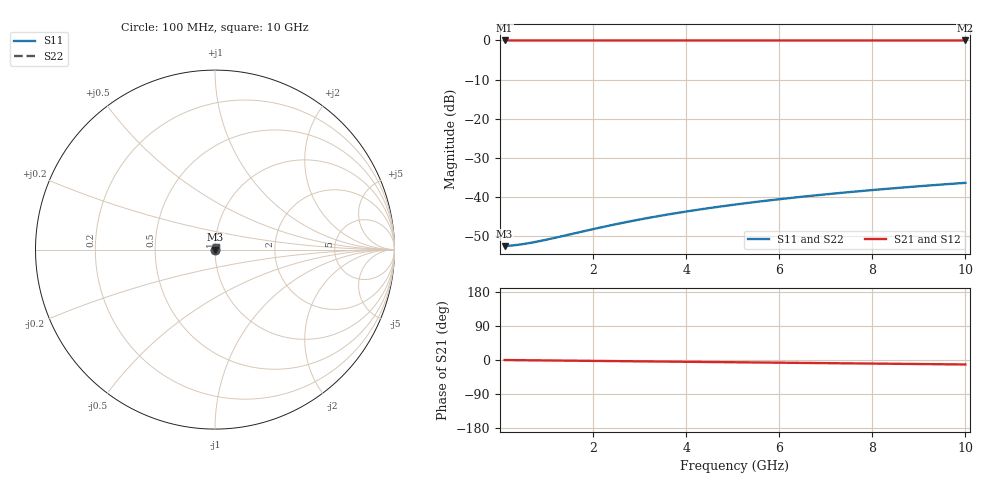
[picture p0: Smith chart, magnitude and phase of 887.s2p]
# Hz S RI R 50.00
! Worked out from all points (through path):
!   100 points, 100 MHz to 10 GHz, reference 50 ohm
!   highest |S21| = -0.02 dB at 100 MHz (marker M1); lowest = 0.0 dB at 10 GHz (marker M2)
!   group delay of S21, straight-line fit = 3.27 ps
!   lowest |S11| = -52.5 dB at 100 MHz (marker M3), VSWR 1.00, Z = 50.2 + j0.0147 ohm
!   |S11| at or under -10 dB: start of sweep to end of sweep
!   |S22| runs from -52.5 to -36.4 dB; largest |S21 - S12| = 0
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1e8  0.00236 0.000147  0.9976 -0.00205  0.9976 -0.00205  0.00236 0.000147
3e8  0.00239 0.00044  0.9976 -0.00615  0.9976 -0.00615  0.00239 0.00044
4e8  0.0024 0.000586  0.9976 -0.0082  0.9976 -0.0082  0.0024 0.000586
5e8  0.00241 0.000732  0.9975 -0.0102  0.9975 -0.0102  0.00241 0.000732
7e8  0.00243 0.00103  0.9975 -0.0143  0.9975 -0.0143  0.00243 0.00103
9e8  0.00244 0.00132  0.9974 -0.0184  0.9974 -0.0184  0.00244 0.00132
1.1e9  0.00247 0.00161  0.9973 -0.0225  0.9973 -0.0225  0.00247 0.00161
1.8e9  0.00255 0.00263  0.9968 -0.0369  0.9968 -0.0369  0.00255 0.00263
2.2e9  0.00261 0.00321  0.9965 -0.0451  0.9965 -0.0451  0.00261 0.00321
2.6e9  0.00268 0.0038  0.9961 -0.0533  0.9961 -0.0533  0.00268 0.0038
3e9  0.00275 0.00438  0.9956 -0.0615  0.9956 -0.0615  0.00275 0.00438
3.4e9  0.00284 0.00495  0.995 -0.0696  0.995 -0.0696  0.00284 0.00495
3.8e9  0.00293 0.00553  0.9944 -0.0778  0.9944 -0.0778  0.00293 0.00553
4.2e9  0.00304 0.0061  0.9937 -0.086  0.9937 -0.086  0.00304 0.0061
4.6e9  0.00315 0.00668  0.9929 -0.0942  0.9929 -0.0942  0.00315 0.00668
5.1e9  0.0033 0.00739  0.9919 -0.1044  0.9919 -0.1044  0.0033 0.00739
5.9e9  0.00358 0.00852  0.99 -0.1207  0.99 -0.1207  0.00358 0.00852
6.7e9  0.00389 0.00964  0.9878 -0.1369  0.9878 -0.1369  0.00389 0.00964
7.5e9  0.00425 0.0108  0.9854 -0.1532  0.9854 -0.1532  0.00425 0.0108
8.4e9  0.00469 0.012  0.9824 -0.1714  0.9824 -0.1714  0.00469 0.012
9.2e9  0.00511 0.0131  0.9794 -0.1876  0.9794 -0.1876  0.00511 0.0131
1e10  0.00558 0.0141  0.9761 -0.2037  0.9761 -0.2037  0.00558 0.0141
